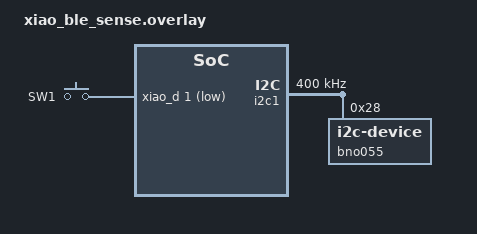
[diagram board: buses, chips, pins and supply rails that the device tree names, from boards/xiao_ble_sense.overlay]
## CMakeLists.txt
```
cmake_minimum_required(VERSION 3.20.0)
find_package(Zephyr REQUIRED HINTS $ENV{ZEPHYR_BASE})

project(IMU_ARTS_PROFILE)

target_sources(app PRIVATE src/main.c src/imu_data.c src/BNO055_data.c)
```

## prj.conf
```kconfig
# Enable logger module
CONFIG_LOG=y

# Enable BLE
CONFIG_BT=y
# Enable Peripheral role
CONFIG_BT_PERIPHERAL=y
# Set device name
CONFIG_BT_DEVICE_NAME="IMU_1"

# Increase stack size for the main thread and System Workqueue
CONFIG_SYSTEM_WORKQUEUE_STACK_SIZE=2048
CONFIG_MAIN_STACK_SIZE=2048

#Enabled GPIOS
CONFIG_GPIO=y

#Enable the I2C driver
CONFIG_I2C=y

#Enable floating point format specifiers
CONFIG_CBPRINTF_FP_SUPPORT=y


# pARA EVITAR QUE SE DESCARTEN NOTIFICACIONES PQ NO HAY ESPACIO EN EL BUFFER
CONFIG_BT_L2CAP_TX_BUF_COUNT=10
CONFIG_BT_BUF_ACL_TX_COUNT=10
#CONFIG_BT_CONN_TX_MAX = 10

#Peripheral preferences
CONFIG_BT_PERIPHERAL_PREF_MIN_INT=76
CONFIG_BT_PERIPHERAL_PREF_MAX_INT=76
CONFIG_BT_PERIPHERAL_PREF_LATENCY=0
CONFIG_BT_PERIPHERAL_PREF_TIMEOUT=400
CONFIG_BT_GAP_AUTO_UPDATE_CONN_PARAMS=y

#Habilitar el acceso a cambiar parametros de capa fisica y MTU
CONFIG_BT_USER_PHY_UPDATE=y

CONFIG_BT_GATT_CLIENT=y #It is necesary in order to use the MTU exchange function from GATT profile 
CONFIG_BT_USER_DATA_LEN_UPDATE=y
CONFIG_BT_CTLR_DATA_LENGTH_MAX=251
CONFIG_BT_BUF_ACL_RX_SIZE=251
CONFIG_BT_BUF_ACL_TX_SIZE=251
CONFIG_BT_L2CAP_TX_MTU=247
```

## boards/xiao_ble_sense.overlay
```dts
 #include <zephyr/dt-bindings/input/input-event-codes.h>

 //Button 1 in the XIAO Expansion Board
 / {
     buttons {
         compatible = "gpio-keys";
         xiao_button1: button_1 {
             gpios = <&xiao_d 1 (GPIO_PULL_UP | GPIO_ACTIVE_LOW)>;
             label = "SW1";
             zephyr,code = <INPUT_KEY_1>;
         };
     };

     aliases {
         sw0 = &xiao_button1;
     };
 };

 //I2C bus 1 
 &i2c1 {
    compatible = "nordic,nrf-twim";
    status = "okay";
    pinctrl-0 = <&i2c1_default>;
    pinctrl-1 = <&i2c1_sleep>;
    pinctrl-names = "default", "sleep";
    clock-frequency = <I2C_BITRATE_FAST>;
    
    bno055: bno055@28{
            compatible = "i2c-device";
            status = "okay";
            reg = < 0x28 >;
        };
};  
```

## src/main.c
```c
//Original file from C:\ncs\v2.5.2\nrf\samples\bluetooth\peripheral_lbs
#include <zephyr/kernel.h>
#include <zephyr/logging/log.h>
#include <zephyr/drivers/gpio.h>

#include <zephyr/bluetooth/bluetooth.h>
#include <zephyr/bluetooth/gap.h> //Header for BLE GENERIC ACCESS PROFILE (GAP)
#include <zephyr/bluetooth/uuid.h> //Header for UUID
#include <zephyr/bluetooth/conn.h> //Header for CONNECTION MANAGEMENT (CONN)
#include <zephyr/bluetooth/gatt.h> //Header for GATT

#include "imu_data.h" // double quotes are necessary to include the header file that is include in the same folder. BLE IMU SERVICE
#include "BNO055_data.h" // Access to the BNO055 sensor


LOG_MODULE_REGISTER(ARTS_IMU_PROFILE_MAIN, LOG_LEVEL_INF); //Enable the logging module in the application
struct bt_conn *my_conn = NULL; //Store de connection
static struct bt_gatt_exchange_params exchange_params; //FOR MTU UPDATE

#define DEVICE_NAME CONFIG_BT_DEVICE_NAME    // device name from prj.conf
#define DEVICE_NAME_LEN (sizeof(DEVICE_NAME) - 1)

/* The devicetree node identifier for the "led0" alias. */
#define LED0_NODE DT_ALIAS(led0)
#define LED1_NODE DT_ALIAS(led1)
static const struct gpio_dt_spec ledR = GPIO_DT_SPEC_GET(LED0_NODE, gpios);
static const struct gpio_dt_spec ledG = GPIO_DT_SPEC_GET(LED1_NODE, gpios);


//Advertising process parameters (Advertising intervals, secondary_max_skip,peer, options like BT_LE_ADV_OPT_CONNECTABLE | BT_LE_ADV_OPT_USE_IDENTITY, etc)  
static const struct bt_le_adv_param *advert_param = BT_LE_ADV_PARAM(
	(BT_LE_ADV_OPT_CONN |
	 BT_LE_ADV_OPT_USE_IDENTITY), /* Advertise using the identity address as the advertiser address.*/
	800, /* Min Advertising Interval 500ms (800*0.625ms) */
	801, /* Max Advertising Interval 500.625ms (801*0.625ms) */
	NULL); 

// Struct of an advertising pkt, exist various options to fill the advertising pkt
static const struct bt_data advert_data[] = {
    //BT_DATA AND BT_DATA_BYTES are macros to write flags for configurations, included in bluetooth.h
	BT_DATA_BYTES(BT_DATA_FLAGS, (BT_LE_AD_GENERAL | BT_LE_AD_NO_BREDR)), // flgs for general discoverable mode and BR/EDR not supported
	BT_DATA(BT_DATA_NAME_COMPLETE, DEVICE_NAME, DEVICE_NAME_LEN),         // device name

};
// Struct of a scan response pkt, exist various options to fill it
static const struct bt_data scan_rsp_data[] = {
	BT_DATA_BYTES(BT_DATA_UUID128_ALL, BT_UUID_IMU_DATA_SERVICE), 
};

/**
 * @brief Update the connection data length parameters.
 * @param[in] conn The connection object.
 */
static void update_data_length(struct bt_conn *conn)
{
	int err;
	struct bt_conn_le_data_len_param my_data_len = {
		.tx_max_len = BT_GAP_DATA_LEN_MAX, //251 bytes
		.tx_max_time = BT_GAP_DATA_TIME_MAX, //17040µs  //Tiempo para transmitir los paquetes con una capa fisica determinada
	};
	err = bt_conn_le_data_len_update(my_conn, &my_data_len);
	if (err) {
		LOG_ERR("data_len_update failed (err %d)", err);
	}
}

/**
 * @brief Callback function for MTU exchange.
 */
static void exchange_func(struct bt_conn *conn, uint8_t att_err,
			  struct bt_gatt_exchange_params *params)
{
	LOG_INF("MTU exchange %s", att_err == 0 ? "successful" : "failed");
    if (!att_err) {
        uint16_t payload_mtu = bt_gatt_get_mtu(conn) - 3;   // 3 bytes used for Attribute headers.
        LOG_INF("New MTU: %d bytes", payload_mtu);
    }
}
/**
 * @brief Update the connection MTU parameters.
 * @param[in] conn The connection object.
 */
static void update_mtu(struct bt_conn *conn)
{
	int err;
	exchange_params.func = exchange_func;  

	err = bt_gatt_exchange_mtu(conn, &exchange_params);
	if (err) {
		LOG_ERR("bt_gatt_exchange_mtu failed (err %d)", err);
	}
}

/**
 * @brief Update the connection PHY parameters.
 * @param[in] conn The connection object.
 */
static void update_phy(struct bt_conn *conn)
{
	int err;
	const struct bt_conn_le_phy_param preferred_phy = {
		.options = BT_CONN_LE_PHY_OPT_NONE,
		.pref_rx_phy = BT_GAP_LE_PHY_2M,
		.pref_tx_phy = BT_GAP_LE_PHY_2M,
	};
	err = bt_conn_le_phy_update(conn, &preferred_phy);
	if (err) {
		LOG_ERR("bt_conn_le_phy_update() returned %d", err);
	}
}

//Callbacks for the connection
static void connected(struct bt_conn *conn, uint8_t err)
{
	if (err) {
		LOG_INF("Connection failed (err %u)\n", err);
		return;
	}
	LOG_INF("Connected\n");
    gpio_pin_set_dt(&ledG,1);
	my_conn = bt_conn_ref(conn);
	bt_le_adv_stop();//Stop de advertising

	// Get connection parameters INFORMATION
	struct bt_conn_info info;
	err = bt_conn_get_info(conn, &info);
	if (err) {
		LOG_ERR("bt_conn_get_info() returned %d", err);
		return;
	}
	double connection_interval = info.le.interval*1.25; // in ms
	uint16_t supervision_timeout = info.le.timeout*10; // in ms
	LOG_INF("Connection parameters: interval %.2f ms, latency %d intervals, timeout %d ms", connection_interval, info.le.latency, supervision_timeout);

	//MODIFY CONNECTIONS PARAMETERS 
	update_phy(my_conn);
	k_sleep(K_MSEC(1000));  // Delay added to avoid link layer collisions.
	update_data_length(my_conn);
	update_mtu(my_conn);

}
//Callbacks for the disconnection
static void disconnected(struct bt_conn *conn, uint8_t reason)
{
	printk("Disconnected (reason %u)\n", reason);
    gpio_pin_set_dt(&ledG, 0);
	
	// Start advertising
	my_conn =NULL;
}

//Write a callback function to inform about in the connection parameters
void on_le_param_updated(struct bt_conn *conn, uint16_t interval, uint16_t latency, uint16_t timeout)
{
	double connection_interval = interval*1.25;         // in ms
	uint16_t supervision_timeout = timeout*10;          // in ms
	LOG_INF("Connection parameters updated: interval %.2f ms, latency %d intervals, timeout %d ms", connection_interval, latency, supervision_timeout);
}
//Write a callback function to inform about updates in the PHY */
void on_le_phy_updated(struct bt_conn *conn, struct bt_conn_le_phy_info *param)
{
	// PHY Updated
	if (param->tx_phy == BT_CONN_LE_TX_POWER_PHY_1M) {
		LOG_INF("PHY updated. New PHY: 1M");
	}
	else if (param->tx_phy == BT_CONN_LE_TX_POWER_PHY_2M) {
		LOG_INF("PHY updated. New PHY: 2M");
	}
	else if (param->tx_phy == BT_CONN_LE_TX_POWER_PHY_CODED_S8) {
		LOG_INF("PHY updated. New PHY: Long Range");
	}
}
//Write a callback function to inform about updates in data length */
void on_le_data_len_updated(struct bt_conn *conn, struct bt_conn_le_data_len_info *info)
{
	uint16_t tx_len     = info->tx_max_len; 
	uint16_t tx_time    = info->tx_max_time;
	uint16_t rx_len     = info->rx_max_len;
	uint16_t rx_time    = info->rx_max_time;
	LOG_INF("Data length updated. Length %d/%d bytes, time %d/%d us", tx_len, rx_len, tx_time, rx_time);
}


//Tracking the state of the connection
struct bt_conn_cb connection_callbacks = {
	.connected = connected,  // callback function for when a connection is established
	.disconnected = disconnected, //callback function for when a connection is closed
	//.recycled     = on_recycled, //Esta en el curso, Cuando una conexión deja de usarse y se devuelve al grupo de conexiones, el sistema invoca on_recycled() para notificarte que puedes volver a aceptar nuevas conexiones.
	//Es útil, por ejemplo, en dispositivos que sólo aceptan una conexión a la vez: cuando se libera una, puedes volver a estar disponible para otros.
	.le_param_updated   = on_le_param_updated,
	.le_phy_updated     = on_le_phy_updated,
	.le_data_len_updated    = on_le_data_len_updated,
};

int seq_pkt = 0;
uint8_t buffer[6]; //Buffer to store the data from the sensor
uint8_t buffer_QUAT[8]; //Buffer to store the data from the sensor in quaternion format
uint8_t bufferTotal[10];

//Handler of k_work
void quat_work_handler(struct k_work *work) {
    if(get_IMUsensor_notify_enabled()){
		//get_euler(buffer);
		get_quaternion(buffer_QUAT, sizeof(buffer_QUAT));

		bufferTotal[0] = (uint8_t)(seq_pkt & 0xFF);        // LSB
		bufferTotal[1] = (uint8_t)((seq_pkt >> 8) & 0xFF); // MSB
		// Copiar quaternion
		memcpy(&bufferTotal[2], buffer_QUAT, sizeof(buffer_QUAT));
		//send_IMUsensor_notify(buffer, sizeof(buffer));
		send_IMUsensor_notify(bufferTotal, sizeof(bufferTotal));
		seq_pkt++;
	}
}
//k_work dfinition
K_WORK_DELAYABLE_DEFINE(quat_work, quat_work_handler);

//Handler of timer
void quat_timer_handler(struct k_timer *timer_id){	
	k_work_schedule(&quat_work, K_NO_WAIT);
}
// Timer definition
K_TIMER_DEFINE(quat_timer, quat_timer_handler, NULL);	

int main(void)
{
    int err;  // error variable

    // Initialize the GPIO device
    if (!gpio_is_ready_dt(&ledR)) {
		return 0;
	}
    err = gpio_pin_configure_dt(&ledR, GPIO_OUTPUT_ACTIVE); //Config GPIO pin as output
	if (err < 0) {
	        return 0;
	}
    err = gpio_pin_configure_dt(&ledG, GPIO_OUTPUT_ACTIVE); //Config GPIO pin as output
	if (err < 0) {
	        return 0;
	}
    gpio_pin_set_dt(&ledG, 0);

    //Activate Bluetooth LE stack in the application.
    err = bt_enable(NULL);
	if (err) {
		LOG_ERR("Bluetooth init failed (err %d)\n", err);
		return -1;
	}
    LOG_INF("Bluetooth initialized\n");
        
    //Register the callbacks for the connection
    bt_conn_cb_register(&connection_callbacks);
        
    // Start advertising
	if(!my_conn){
    	err = bt_le_adv_start(advert_param, advert_data, ARRAY_SIZE(advert_data), scan_rsp_data, ARRAY_SIZE(scan_rsp_data));
	}
	if (err) {
		LOG_ERR("Advertising failed to start (err %d)\n", err);
		return -1;
	}
	LOG_INF("Advertising successfully started\n");


	//Initialize the BNO055 sensor
	bno055_init();
	//Select the IMU mode
	uint8_t mode = OPERATION_MODE_NDOF;
	select_mode(mode);

	// Inicia el temporizador con un intervalo de 16.67 ms (~60 Hz)
    k_timer_start(&quat_timer, K_USEC(96000), K_USEC(96000));

    while (1) {
		err = gpio_pin_toggle_dt(&ledR);
		if (err < 0) {
			return 0;
		}
		//LOG_INF("CICLO PRINCIPAL*****************************************************************");
		//Send the notification and increment the value only if the notification is enabled
		// if(get_IMUsensor_notify_enabled()){
		// 	//get_euler(buffer);
		// 	get_quaternion(buffer_QUAT, sizeof(buffer_QUAT));

		// 	//send_IMUsensor_notify(buffer, sizeof(buffer));
		// 	send_IMUsensor_notify(buffer_QUAT, sizeof(buffer_QUAT));
        //     seq_pkt++;
		// }

		k_msleep(1000);
		//k_msleep(BNO055_SAMPLERATE_DELAY_MS);
		//k_sleep(K_USEC(16667));
		//k_sleep(K_USEC(100000));
		//K_USEC(16667); //MICROSEGUNDOS para temporizadores
		//K_NO_WAIT
	}
	return 0;

}
```

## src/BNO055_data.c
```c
#include <zephyr/kernel.h>
#include <zephyr/drivers/gpio.h>
#include <zephyr/drivers/i2c.h>
#include <zephyr/logging/log.h>
#include <stdio.h>
#include <stdlib.h> 
#include "BNO055_data.h"

LOG_MODULE_REGISTER(BNO055_DATA_C, LOG_LEVEL_INF); //Enable the logging module in the application

/* The devicetree node identifier for the "led0" alias. */
#define LED0_NODE DT_ALIAS(led2)

//THE DEVICE TREE NODE IDENTIFIER FOR THE BNO055 
//#define I2C1_NODE DT_NODELABEL(BNO055)
#define I2C_BNO055 DT_NODELABEL(bno055)

//static const struct gpio_dt_spec ledB = GPIO_DT_SPEC_GET(LED0_NODE, gpios);
static const struct i2c_dt_spec dev_i2c = I2C_DT_SPEC_GET(I2C_BNO055);

uint8_t id;
/**
 * @brief Initialize the BNO055 sensor.
 * @brief Get the device ID of the BNO055 sensor.
 */
void bno055_init(void){	
	uint8_t reg = CHIP_ID_ADDR;
	int ret = i2c_write_read_dt(&dev_i2c, &reg, sizeof(reg), &id, sizeof(id));
	if(ret == 0){
		LOG_INF("ID: %x\n\r",id);
		if(id != BNO055_ID){
			k_msleep(1000);
			if(id != BNO055_ID){
				LOG_INF("BNO055 not found!\n\r");
				return;
			}
		}
		LOG_INF("BNO055 found!\n\r");
	}else{
		LOG_INF("Error reading BNO055 ID!\n\r");
		return;
	}
}

/**
 * @brief Select the operation mode of the BNO055 sensor.
 * @param mode uint8_t The operation mode to be selected.
 */
void select_mode(uint8_t mode){
	int ret;
	uint8_t chance_mode[] = {OPR_MODE_ADDR, mode};
	ret = i2c_write_dt(&dev_i2c, chance_mode, sizeof(chance_mode));
	if(ret == 0){
		LOG_INF("BNO055 mode selected!\n\r");
	}else{
		LOG_INF("Error selecting BNO055 mode!\n\r");
	}
	k_msleep(30); //Wait for the mode to be selected
}

/**
 * @brief Read the quaternion data from the BNO055 sensor.
 */
void get_quaternion(uint8_t* buffer, size_t len){
	
	memset(buffer, 0, 8);

	// int16_t x, y, z, w;
  	// x = y = z = w = 0;

	uint8_t start_reg = BNO055_QUATERNION_DATA_W_LSB_ADDR;
	int ret = i2c_write_read_dt(&dev_i2c, &start_reg, sizeof(start_reg), buffer, len);
 	if (ret == 0) {
/*		w = (((uint16_t)buffer[1]) << 8) | ((uint16_t)buffer[0]);
		x = (((uint16_t)buffer[3]) << 8) | ((uint16_t)buffer[2]);
		y = (((uint16_t)buffer[5]) << 8) | ((uint16_t)buffer[4]);
		z = (((uint16_t)buffer[7]) << 8) | ((uint16_t)buffer[6]);

		float scale = 1.0f / 16384.0f;
		float fw = w * scale;
		float fx = x * scale;
		float fy = y * scale;
		float fz = z * scale;
		LOG_INF("Quaternion (float): w=%.3f, x=%.3f, y=%.3f, z=%.3f\n\r", (double)fw, (double)fx, (double)fy, (double)fz);
        LOG_INF("Quaternion raw data: ");
        for (int i = 0; i < 8; i++) {
            LOG_INF("0x%02X ", buffer[i]);
        }
        LOG_INF("\n"); */
	}else{
		LOG_INF("Error reading BNO055 quaternion data!\n\r");
		return;
	}
	
}

/**
 * @brief Get de euler data from the BNO055 sensor.
 * @param buffer uint8_t* buffer to store the data from the sensor
 */
void get_euler(uint8_t* buffer){
    
    // if (buffer == NULL) {
    //     return -EINVAL;  // Error code for invalid argument
    // }
	memset(buffer, 0, 6);

	int16_t heading, roll, pitch;
  	heading = roll = pitch = 0;

	uint8_t start_reg = BNO055_EULER_H_LSB_ADDR;
	int ret = i2c_write_read_dt(&dev_i2c, &start_reg, sizeof(start_reg), buffer, sizeof(buffer));
	
	if (ret == 0) {
		heading = ((int16_t)buffer[0]) | (((int16_t)buffer[1]) << 8);
		roll = ((int16_t)buffer[2]) | (((int16_t)buffer[3]) << 8);
		pitch = ((int16_t)buffer[4]) | (((int16_t)buffer[5]) << 8);
		LOG_INF("ROLL=%.2f PITCH=%.2f YAW=%.2f\n", (double)roll / 16.0, (double)pitch / 16.0, (double)heading / 16.0);
        LOG_INF("Euler raw data: ");
        for (int i = 0; i < 6; i++) {
            LOG_INF("0x%02X ", buffer[i]);
        }
        LOG_INF("\n");
	}else{
		LOG_INF("Error reading BNO055 euler data!\n\r");
		return;
	}
}
```

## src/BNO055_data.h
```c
#ifndef BT_IMU_BNO055_DATA_H_  //If the .h is not defined, then it is defined
#define BT_IMU_BNO055_DATA_H_

#ifdef __cplusplus // C++ related
    extern "C" {
#endif

#include <stdint.h>  //Best practice when using uint8_t, uint16_t, uint32_t


/* Set the delay between fresh samples */
#define BNO055_SAMPLERATE_DELAY_MS 16

/*Sensor registers*/
#define default_addr 0x29 //Default address
#define alt_addr 0x28	// Alternative address (por defecto en la breakout board de adafruit)

#define OPR_MODE_ADDR  0X3D//Address of the operation mode register
#define CHIP_ID_ADDR 0X00 //Address of the ID register

/*Command data*/
#define BNO055_ID 0xA0 //Device ID 
#define OPERATION_MODE_IMU 0X08 //Operation mode: IMU
#define OPERATION_MODE_NDOF 0X0C //Operation mode: NDOF


/*Dta registers: read only*/
	/* Euler data registers */
	#define BNO055_EULER_H_LSB_ADDR 0X1A
	#define BNO055_EULER_H_MSB_ADDR 0X1B
	#define BNO055_EULER_R_LSB_ADDR 0X1C
	#define BNO055_EULER_R_MSB_ADDR 0X1D
	#define BNO055_EULER_P_LSB_ADDR 0X1E
	#define BNO055_EULER_P_MSB_ADDR 0X1F

	/* Quaternion data registers */
	#define BNO055_QUATERNION_DATA_W_LSB_ADDR  0X20
	#define BNO055_QUATERNION_DATA_W_MSB_ADDR  0X21
	#define BNO055_QUATERNION_DATA_X_LSB_ADDR  0X22
	#define BNO055_QUATERNION_DATA_X_MSB_ADDR  0X23
	#define BNO055_QUATERNION_DATA_Y_LSB_ADDR  0X24
	#define BNO055_QUATERNION_DATA_Y_MSB_ADDR  0X25
	#define BNO055_QUATERNION_DATA_Z_LSB_ADDR  0X26
	#define BNO055_QUATERNION_DATA_Z_MSB_ADDR  0X27

/**
 * @brief Initialize the BNO055 sensor.
 * @brief Get the device ID of the BNO055 sensor.
 */
void bno055_init(void);
/**
 * @brief Select the operation mode of the BNO055 sensor.
 * @param mode uint8_t The operation mode to be selected.
 */
void select_mode(uint8_t mode);
/**
 * @brief Read the quaternion data from the BNO055 sensor.
 * @param buffer uint8_t* buffer to store the data from the sensor
 */
void get_quaternion(uint8_t* buffer, size_t len);
/**
 * @brief Get de euler data from the BNO055 sensor.
 * @param buffer uint8_t* buffer to store the data from the sensor
 */
void get_euler(uint8_t* buffer);


#ifdef __cplusplus  // C++ related
}
#endif

#endif /* BT_IMU_BNO055_DATA_H_ */  //Closed: If the .h is not defined, then it is defined
```

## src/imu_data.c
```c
//Archivo original del perfil LBS
//C:\ncs\v2.5.2\nrf\subsys\bluetooth\services

#include <stddef.h>
#include <string.h>
#include <errno.h>
#include <zephyr/sys/printk.h>
#include <zephyr/sys/byteorder.h>
#include <zephyr/kernel.h>
#include <zephyr/logging/log.h>
#include <zephyr/bluetooth/bluetooth.h>
#include <zephyr/bluetooth/hci.h>
#include <zephyr/bluetooth/conn.h>
#include <zephyr/bluetooth/uuid.h>
#include <zephyr/bluetooth/gatt.h>

#include "imu_data.h"

LOG_MODULE_REGISTER(IMU_DATA_C, LOG_LEVEL_INF); //Enable the logging module in the application

static bool IMUsensor_notify_enabled;

/**
 * @brief Callback for Notify characteristic configuration change.
 */
static void IMUsensor_Notify_cfg_changed(const struct bt_gatt_attr *attr, uint16_t value){
    
    IMUsensor_notify_enabled = (value == BT_GATT_CCC_NOTIFY);
}

/* IMU Data Service Declaration */
BT_GATT_SERVICE_DEFINE(
	imu_svc, BT_GATT_PRIMARY_SERVICE(BT_UUID_IMU_DATA), //Name and UUID of the service

	/* Definition of the characteristic imu_data (declaration of the characteristic) */
	BT_GATT_CHARACTERISTIC(BT_UUID_IMU_DATA_SENSOR, BT_GATT_CHRC_NOTIFY, BT_GATT_PERM_NONE, NULL, //Property: Notify. Permission: None (the server sends the info to the central)
			       NULL, NULL),                                                                   //No Read callback, No write callback (This functions excecutes it when there is a read or write operation), No User Data because the client doesn't read or write de value.
    //Definition of the Client Characteristic Configuration descriptor
	BT_GATT_CCC(IMUsensor_Notify_cfg_changed, BT_GATT_PERM_READ | BT_GATT_PERM_WRITE),          //Configuration changed callback, Permission: Read and Write to enable/disable notifications notifications.

);
/**
 * @brief Send the sensor value as notification.  
 * @param[in] sensor_value The value of the sensor in uint32_t format.
 */
int send_IMUsensor_notify2(uint32_t sensor_value)
{
	if (!IMUsensor_notify_enabled) {
		return -EACCES;
	}
    //After the declaration of the service, a table attribute is created to store the characteristics (all the atributes of the service in order).
    //
	return bt_gatt_notify(NULL, &imu_svc.attrs[2], &sensor_value, sizeof(sensor_value)); 
}

/**
 * @brief Struct of the callback to be called when the notification is sent
 */
static struct bt_gatt_notify_params notify_params = {
    .uuid = NULL,              // Solo necesario si se notifica por UUID
    .attr = NULL,              // Se asigna luego
    .data = NULL,              // Se asigna en tiempo de envío
    .len = 0,                  // Se asigna en tiempo de envío
    .func = NULL,              // Se asigna si se quiere un callback
    .user_data = NULL
};

// static uint64_t last_notify_time = 0;
//static uint64_t last_time = 0;

// void notify_complete_cb(struct bt_conn *conn, void *user_data)
// {
//     // uint64_t now = k_cycle_get_64();
// 	uint64_t now1 = k_uptime_get(); // ms

//     /* if (last_notify_time != 0) {
//         uint64_t elapsed_us = k_cyc_to_us_floor64(now - last_notify_time);
//         LOG_INF("Tiempo entre notificaciones: %llu us\n", elapsed_us);
//     } else {
//         LOG_INF("Primera notificación enviada\n");
//     }
//     last_notify_time = now; */

// 	if (last_time != 0) {
//         uint64_t elapsed_ms = now1 - last_time;
//         LOG_INF("Tiempo1  %llu ms\n", elapsed_ms);
//     } else {
//         LOG_INF("Primera\n");
//     }

//     last_time = now1;
// }

/**
 * @brief Send the sensor value as notification. uint8_t buffer sensor_value
 * @param[in] sensor_value The value of the sensor in uint8_t* buffer format.
 * @param[in] len The length of the buffer.
 */
int send_IMUsensor_notify(uint8_t* sensor_value, size_t len)
{
	if (!IMUsensor_notify_enabled) {
		return -EACCES;
	}
    //After the declaration of the service, a table attribute is created to store the characteristics (all the atributes of the service in order).
	//return bt_gatt_notify(NULL, &imu_svc.attrs[2], sensor_value, len); 

	notify_params.attr = &imu_svc.attrs[2];  // Tu característica
    notify_params.data = sensor_value;
    notify_params.len = len;
    //notify_params.func = notify_complete_cb; // Opcional: tu callback
    notify_params.func = NULL; // Opcional: tu callback
    notify_params.user_data = NULL;
	return bt_gatt_notify_cb(NULL, &notify_params);
}

/**
 * @brief Get the notification status in the main function.
 */
bool get_IMUsensor_notify_enabled(void) {
    return IMUsensor_notify_enabled;
}
```

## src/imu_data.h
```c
//Archivo original del perfil LBS
//C:\ncs\v2.5.2\nrf\include\bluetooth\services\lbs.h


#ifndef BT_IMU_DATA_H_  //If the .h is not defined, then it is defined
#define BT_IMU_DATA_H_

#ifdef __cplusplus // C++ related
extern "C" {
#endif

#include <zephyr/types.h>

/** @brief IMU Data Service UUID. */
#define BT_UUID_IMU_DATA_SERVICE BT_UUID_128_ENCODE(0x1829d620,0xf043,0x4fa4,0x9cd5,0x660fe0834250)  //BT_UUID_128_ENCODE: Convert the array to the BLE necesary format 
/** @brief IMU Data Service Sensor characteristic UUID. */
#define BT_UUID_IMU_DATA_SENSOR_VAL BT_UUID_128_ENCODE(0x1829d621, 0xf043,0x4fa4,0x9cd5,0x660fe0834250)


#define BT_UUID_IMU_DATA BT_UUID_DECLARE_128(BT_UUID_IMU_DATA_SERVICE)               //BT_UUID_DECLARE_128: Convert the array to a generic UUID
#define BT_UUID_IMU_DATA_SENSOR BT_UUID_DECLARE_128(BT_UUID_IMU_DATA_SENSOR_VAL)     

/** @brief Send the sensor value as notification.
 * @param[in] sensor_value The value of the sensor in uint8_t buffer format.
 * @param[in] len The length of the buffer.
 * @retval 0 If the operation was successful.
 *           Otherwise, a (negative) error code is returned.
 */
int send_IMUsensor_notify(uint8_t *sensor_value, size_t len);

/**
 * @brief Get the notification enable status.
 */
bool get_IMUsensor_notify_enabled(void);

#ifdef __cplusplus  // C++ related
}
#endif

#endif /* BT_IMU_DATA_H_ */  //Closed: If the .h is not defined, then it is defined
```
